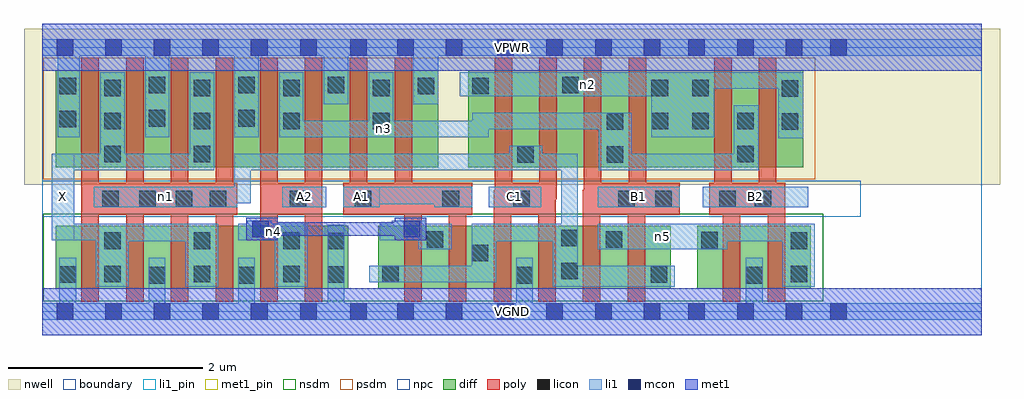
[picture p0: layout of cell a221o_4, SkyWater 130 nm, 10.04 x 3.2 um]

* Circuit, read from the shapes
.subckt a221o_4 A1 A2 B1 B2 C1 VGND VPWR X n1 n2 n3 n4 n5
XM1 X n1 VGND VSUBS sky130_fd_pr__nfet_01v8 w=0.65 l=0.18 m=4
XM2 n4 A2 VGND VSUBS sky130_fd_pr__nfet_01v8 w=0.65 l=0.18 m=2
XM3 n4 A1 n1 VSUBS sky130_fd_pr__nfet_01v8 w=0.65 l=0.18 m=2
XM4 VGND C1 n1 VSUBS sky130_fd_pr__nfet_01v8 w=0.65 l=0.18 m=2
XM5 n5 B1 n1 VSUBS sky130_fd_pr__nfet_01v8 w=0.65 l=0.18 m=2
XM6 VGND B2 n5 VSUBS sky130_fd_pr__nfet_01v8 w=0.65 l=0.18 m=2
XM7 X n1 VPWR n6 sky130_fd_pr__pfet_01v8 w=1 l=0.18 m=4
XM8 n3 A2 VPWR n6 sky130_fd_pr__pfet_01v8 w=1 l=0.18 m=2
XM9 n3 A1 VPWR n6 sky130_fd_pr__pfet_01v8 w=1 l=0.18 m=2
XM10 n1 C1 n2 n6 sky130_fd_pr__pfet_01v8 w=1 l=0.18 m=2
XM11 n3 B1 n2 n6 sky130_fd_pr__pfet_01v8 w=1 l=0.18 m=2
XM12 n3 B2 n2 n6 sky130_fd_pr__pfet_01v8 w=1 l=0.18 m=2
.ends

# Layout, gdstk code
import gdstk
lib = gdstk.Library(unit=1e-6, precision=1e-09)
def R(c, l, rs):  # rectangles x0, y0, x1, y1
    for r in rs: c.add(gdstk.rectangle(r[:2], r[2:], *l))
def A(c, l, x, y, w, h, nx, ny, dx, dy):  # array of equal rectangles
    R(c, l, [(x+i*dx, y+j*dy, x+i*dx+w, y+j*dy+h) for i in range(nx) for j in range(ny)])
nwell = (64, 20)
diff = (65, 20)
poly = (66, 20)
licon = (66, 44)
li1_pin = (67, 16)
li1 = (67, 20)
mcon = (67, 44)
met1_pin = (68, 16)
met1 = (68, 20)
nsdm = (93, 44)
psdm = (94, 20)
npc = (95, 20)
boundary = (235, 4)

a221o_4 = lib.new_cell('a221o_4')
R(a221o_4, nwell, [(-0.19,1.305,9.85,2.91), (0,1.305,9.66,2.91)])
R(a221o_4, diff, [(0.135,0.235,3.145,0.885), (3.455,0.235,6.465,0.885), (6.735,0.235,7.905,0.885), (0.135,1.485,4.07,2.485), (4.38,1.485,7.825,2.485)])
A(a221o_4, poly, 0.4, 0.105, 0.18, 2.51, 6, 1, 0.46, 0)
A(a221o_4, poly, 4.18, 0.105, 0.18, 1.22, 3, 1, 0.92, 0)
R(a221o_4, poly, [(3.72,0.105,3.9,1.325), (4.64,0.105,4.82,1.25), (5.56,0.105,5.74,1.255), (7,0.105,7.18,1.325), (7.46,0.105,7.64,1.325), (0.4,0.995,2.005,1.325), (2.24,0.995,2.88,1.325), (3.095,0.995,4.42,1.325), (3.16,0.995,3.34,2.615), (3.625,0.995,3.805,2.615), (4.65,0.995,4.83,2.615), (4.65,0.995,5.1,1.325), (5.57,0.995,5.75,2.615), (5.57,0.995,6.555,1.325), (6.03,0.995,6.21,2.615), (6.86,0.995,7.64,1.325), (6.91,0.995,7.09,2.615), (7.37,0.995,7.55,2.615), (5.11,1.155,5.29,2.615)])
A(a221o_4, licon, 0.635, 0.305, 0.17, 0.17, 3, 2, 0.92, 0.34)
A(a221o_4, licon, 0.635, 1.875, 0.17, 0.17, 3, 2, 0.92, 0.34)
A(a221o_4, licon, 1.095, 2.245, 0.17, 0.17, 3, 1, 0.92, 0)
R(a221o_4, licon, [(1.095,0.29,1.265,0.46), (2.015,0.29,2.185,0.46), (4.875,0.29,5.045,0.46), (7.235,0.29,7.405,0.46), (0.175,0.3,0.345,0.47), (2.935,0.3,3.105,0.47), (6.255,0.3,6.425,0.47), (3.495,0.305,3.665,0.475), (7.695,0.305,7.865,0.475), (5.335,0.335,5.505,0.505), (4.415,0.52,4.585,0.69), (2.935,0.64,3.105,0.81), (7.695,0.645,7.865,0.815), (6.775,0.65,6.945,0.82), (3.955,0.66,4.125,0.83), (5.795,0.66,5.965,0.83), (5.335,0.675,5.505,0.845), (0.615,1.075,0.785,1.245), (0.995,1.075,1.165,1.245), (1.37,1.075,1.54,1.245), (1.72,1.075,1.89,1.245), (2.545,1.075,2.715,1.245), (3.21,1.075,3.38,1.245), (4.115,1.075,4.285,1.245), (4.845,1.075,5.015,1.245), (5.925,1.075,6.095,1.245), (6.305,1.075,6.475,1.245), (6.96,1.075,7.13,1.245), (7.325,1.075,7.495,1.245), (4.885,1.53,5.055,1.7), (5.805,1.53,5.975,1.7), (0.635,1.535,0.805,1.705), (1.555,1.535,1.725,1.705), (7.145,1.535,7.315,1.705), (5.805,1.87,5.975,2.04), (7.605,1.87,7.775,2.04), (3.4,1.875,3.57,2.045), (6.265,1.875,6.435,2.045), (6.685,1.875,6.855,2.045), (7.145,1.875,7.315,2.045), (0.175,1.895,0.345,2.065), (1.095,1.905,1.265,2.075), (2.015,1.905,2.185,2.075), (7.605,2.21,7.775,2.38), (3.4,2.215,3.57,2.385), (6.265,2.215,6.435,2.385), (6.685,2.215,6.855,2.385), (0.175,2.235,0.345,2.405), (3.86,2.235,4.03,2.405), (4.42,2.235,4.59,2.405), (5.345,2.245,5.515,2.415)])
R(a221o_4, li1_pin, [(0.095,0.735,0.325,1.625), (2.465,1.075,2.92,1.285), (3.095,1.075,3.47,1.285), (4.59,1.075,5.13,1.285), (5.71,1.075,6.555,1.285), (6.79,1.075,7.88,1.285)])
A(a221o_4, li1, 0.175, -0.085, 0.17, 0.64, 3, 1, 0.92, 0)
A(a221o_4, li1, 0.55, 0.255, 0.34, 0.65, 3, 1, 0.92, 0)
R(a221o_4, li1, [(0,-0.085,9.66,0.085), (2.935,-0.085,3.105,0.895), (4.875,-0.085,5.045,0.555), (7.235,-0.085,7.41,0.555), (5.25,0.255,6.505,0.475), (5.25,0.255,5.505,0.905), (5.335,0.255,5.505,1.625), (7.61,0.255,7.945,0.905), (3.36,0.305,4.67,0.475), (4.415,0.305,4.67,0.905), (3.865,0.645,4.21,0.905), (5.71,0.645,7.045,0.905), (0.55,0.725,1.81,0.905), (4.415,0.725,5.505,0.905), (5.71,0.725,7.945,0.905), (0.095,0.735,1.81,0.905), (0.095,0.735,0.325,1.625), (2.015,0.735,2.73,0.905), (2.105,0.735,2.36,0.935), (3.47,0.735,4.21,0.905), (3.595,0.735,3.93,0.935), (0.53,1.075,2.005,1.285), (2.465,1.075,2.92,1.285), (3.095,1.075,3.47,1.285), (4.03,1.075,4.42,1.285), (4.59,1.075,5.13,1.285), (5.71,1.075,6.555,1.285), (6.79,1.075,7.88,1.285), (3.095,1.105,4.42,1.285), (1.975,1.115,2.145,1.625), (0.095,1.455,1.765,1.625), (0.595,1.455,0.845,2.465), (1.515,1.455,1.765,2.465), (1.975,1.455,5.505,1.625), (4.8,1.455,5.14,1.705), (5.72,1.455,7.37,1.625), (5.72,1.455,6.06,2.045), (7.11,1.455,7.37,2.125), (7.57,1.785,7.825,2.465), (0.155,1.795,0.385,2.805), (1.055,1.795,1.305,2.805), (1.975,1.795,2.225,2.805), (2.435,1.795,4.59,1.965), (2.435,1.795,2.685,2.465), (3.355,1.795,3.61,2.465), (6.265,1.795,6.91,2.465), (4.42,1.875,6.06,2.045), (2.895,2.135,3.145,2.805), (3.815,2.135,4.07,2.805), (4.295,2.215,6.91,2.465), (4.295,2.295,7.825,2.465), (0,2.635,9.66,2.805)])
A(a221o_4, mcon, 0.145, -0.085, 0.17, 0.17, 5, 2, 0.5, 2.72)
A(a221o_4, mcon, 6.645, -0.085, 0.17, 0.17, 3, 2, 0.5, 2.72)
R(a221o_4, mcon, [(2.65,-0.085,2.82,0.085), (3.165,-0.085,3.335,0.085), (3.65,-0.085,3.82,0.085), (4.15,-0.085,4.32,0.085), (4.68,-0.085,4.85,0.085), (5.18,-0.085,5.35,0.085), (5.685,-0.085,5.855,0.085), (6.185,-0.085,6.355,0.085), (8.105,-0.085,8.275,0.085), (2.16,0.765,2.33,0.935), (3.715,0.765,3.885,0.935), (2.65,2.635,2.82,2.805), (3.165,2.635,3.335,2.805), (3.65,2.635,3.82,2.805), (4.15,2.635,4.32,2.805), (4.68,2.635,4.85,2.805), (5.18,2.635,5.35,2.805), (5.685,2.635,5.855,2.805), (6.185,2.635,6.355,2.805), (8.105,2.635,8.275,2.805)])
R(a221o_4, met1_pin, [(0,-0.24,9.66,0.24), (0,2.48,9.66,2.96)])
R(a221o_4, met1, [(0,-0.24,9.66,0.24), (2.095,0.735,2.42,0.965), (3.625,0.735,3.95,0.965), (2.095,0.78,3.95,0.92), (0,2.48,9.66,2.96)])
R(a221o_4, nsdm, [(0.01,0.11,8.03,1.01)])
R(a221o_4, psdm, [(0.01,1.36,7.95,2.61)])
R(a221o_4, npc, [(0,0.975,8.42,1.345)])
R(a221o_4, boundary, [(0,0,9.66,2.72)])
a221o_4.add(gdstk.Label('A1', (3.282,1.18), layer=67, texttype=5))
a221o_4.add(gdstk.Label('A2', (2.692,1.18), layer=67, texttype=5))
a221o_4.add(gdstk.Label('B1', (6.132,1.18), layer=67, texttype=5))
a221o_4.add(gdstk.Label('B2', (7.335,1.18), layer=67, texttype=5))
a221o_4.add(gdstk.Label('C1', (4.86,1.18), layer=67, texttype=5))
a221o_4.add(gdstk.Label('X', (0.21,1.18), layer=67, texttype=5))
a221o_4.add(gdstk.Label('n5', (6.377,0.775), layer=67, texttype=5))
a221o_4.add(gdstk.Label('n4', (2.372,0.82), layer=67, texttype=5))
a221o_4.add(gdstk.Label('n1', (1.267,1.18), layer=67, texttype=5))
a221o_4.add(gdstk.Label('n3', (3.512,1.88), layer=67, texttype=5))
a221o_4.add(gdstk.Label('n2', (5.602,2.34), layer=67, texttype=5))
a221o_4.add(gdstk.Label('VPWR', (4.83,2.72), layer=68, texttype=5))
a221o_4.add(gdstk.Label('VGND', (4.83,0), layer=68, texttype=5))
a221o_4.add(gdstk.Label('A1', (3.282,1.18), layer=67, texttype=16))
a221o_4.add(gdstk.Label('A2', (2.692,1.18), layer=67, texttype=16))
a221o_4.add(gdstk.Label('B1', (6.132,1.18), layer=67, texttype=16))
a221o_4.add(gdstk.Label('B2', (7.335,1.18), layer=67, texttype=16))
a221o_4.add(gdstk.Label('C1', (4.86,1.18), layer=67, texttype=16))
a221o_4.add(gdstk.Label('X', (0.21,1.18), layer=67, texttype=16))
a221o_4.add(gdstk.Label('VPWR', (4.83,2.72), layer=68, texttype=16))
a221o_4.add(gdstk.Label('VGND', (4.83,0), layer=68, texttype=16))

lib.write_gds('a221o_4.gds')
